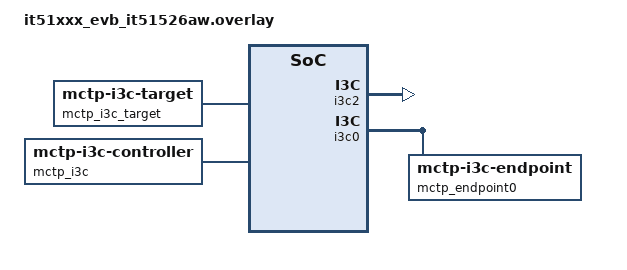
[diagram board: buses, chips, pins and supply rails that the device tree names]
/*
 * Copyright (c) 2026 ITE Corporation. All Rights Reserved.
 *
 * SPDX-License-Identifier: Apache-2.0
 */

/ {
	mctp_i3c_target: mctp_i3c_target {
		compatible = "zephyr,mctp-i3c-target";
		i3c = <&i3c2>;
		endpoint-id = <11>;
	};

	mctp_i3c: mctp_i3c {
		compatible = "zephyr,mctp-i3c-controller";
		endpoints = <&mctp_endpoint0>;
		endpoint-ids = <11>;
	};

	aliases {
		i3c-controller = &i3c0;
	};
};

&i3c2 {
	status = "okay";

	pinctrl-0 = < &i3c2_clk_gpe2_default &i3c2_data_gpe3_default>;
	pinctrl-names = "default";

	disable-read-abort;

	bcr = <0x06>;
	pid-random-value = <0x00000011>;
};

&i3c0 {
	zephyr,deferred-init;
	status = "okay";
	i3c-scl-hz = <7500000>;
	i3c-od-scl-hz = <1500000>;
	i2c-scl-hz = <400000>;

	pinctrl-0 = <&i3c0_clk_gpj3_default &i3c0_data_gpj4_default>;
	pinctrl-names = "default";

	/* dynamic address assignment: entdaa */
	mctp_endpoint0: mctp_endpoint0@5fa00000011 {
		zephyr,deferred-init;
		compatible = "zephyr,mctp-i3c-endpoint";
		reg = <0x00 0x05fa 0x00000011>;
		status = "okay";
	};
};

i3c_controller: &i3c0 {};
